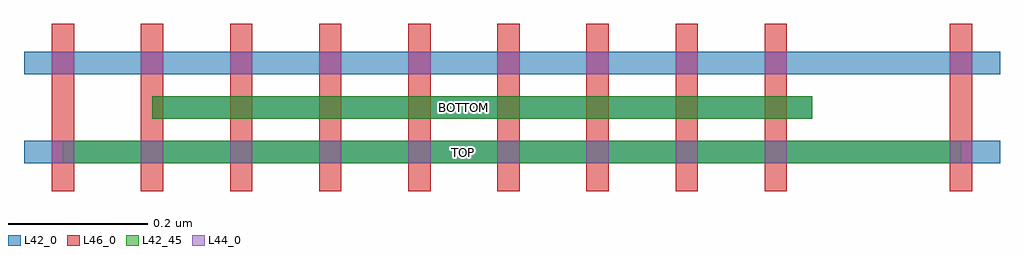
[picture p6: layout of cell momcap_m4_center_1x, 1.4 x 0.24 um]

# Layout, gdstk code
import gdstk
lib = gdstk.Library(unit=1e-6, precision=5e-10)
def R(c, l, rs):  # rectangles x0, y0, x1, y1
    for r in rs: c.add(gdstk.rectangle(r[:2], r[2:], *l))
def A(c, l, x, y, w, h, nx, ny, dx, dy):  # array of equal rectangles
    R(c, l, [(x+i*dx, y+j*dy, x+i*dx+w, y+j*dy+h) for i in range(nx) for j in range(ny)])
L42_0 = (42, 0)
L42_45 = (42, 45)
L44_0 = (44, 0)
L46_0 = (46, 0)

via_m4_m5_0 = lib.new_cell('via_M4_M5_0')
R(via_m4_m5_0, L42_0, [(-0.056,-0.016,0.056,0.016)])
R(via_m4_m5_0, L44_0, [(-0.016,-0.016,0.016,0.016)])
R(via_m4_m5_0, L46_0, [(-0.016,-0.056,0.016,0.056)])

momcap_m4_center_1x = lib.new_cell('momcap_m4_center_1x')
R(momcap_m4_center_1x, L42_0, [(0,-0.016,1.29,0.016), (0.128,0.048,1.076,0.08), (0,0.112,1.29,0.144)])
R(momcap_m4_center_1x, L42_45, [(0,-0.016,1.29,0.016), (0.128,0.048,1.076,0.08)])
A(momcap_m4_center_1x, L46_0, -0.016, 0, 0.032, 0.128, 9, 1, 0.128, 0)
R(momcap_m4_center_1x, L46_0, [(1.274,0,1.306,0.128)])
momcap_m4_center_1x.add(gdstk.Reference(via_m4_m5_0, (0.256,0)))
momcap_m4_center_1x.add(gdstk.Reference(via_m4_m5_0, (1.29,0.128)))
momcap_m4_center_1x.add(gdstk.Reference(via_m4_m5_0, (0.896,0.128)))
momcap_m4_center_1x.add(gdstk.Reference(via_m4_m5_0, (0.768,0.128)))
momcap_m4_center_1x.add(gdstk.Reference(via_m4_m5_0, (0.384,0.128)))
momcap_m4_center_1x.add(gdstk.Reference(via_m4_m5_0, (0.384,0)))
momcap_m4_center_1x.add(gdstk.Reference(via_m4_m5_0, (0.512,0)))
momcap_m4_center_1x.add(gdstk.Reference(via_m4_m5_0, (1.29,0)))
momcap_m4_center_1x.add(gdstk.Reference(via_m4_m5_0, (0.128,0)))
momcap_m4_center_1x.add(gdstk.Reference(via_m4_m5_0, (0.64,0)))
momcap_m4_center_1x.add(gdstk.Reference(via_m4_m5_0, (0.256,0.128)))
momcap_m4_center_1x.add(gdstk.Reference(via_m4_m5_0, (0.896,0)))
momcap_m4_center_1x.add(gdstk.Reference(via_m4_m5_0, (0.64,0.128)))
momcap_m4_center_1x.add(gdstk.Reference(via_m4_m5_0, (0,0)))
momcap_m4_center_1x.add(gdstk.Reference(via_m4_m5_0, (1.024,0)))
momcap_m4_center_1x.add(gdstk.Reference(via_m4_m5_0, (0.512,0.128)))
momcap_m4_center_1x.add(gdstk.Reference(via_m4_m5_0, (0.768,0)))
momcap_m4_center_1x.add(gdstk.Reference(via_m4_m5_0, (0,0.128)))
momcap_m4_center_1x.add(gdstk.Reference(via_m4_m5_0, (1.024,0.128)))
momcap_m4_center_1x.add(gdstk.Reference(via_m4_m5_0, (0.128,0.128)))
momcap_m4_center_1x.add(gdstk.Label('BOTTOM', (0.576,0.064), layer=42, texttype=45))
momcap_m4_center_1x.add(gdstk.Label('TOP', (0.576,0), layer=42, texttype=45))

lib.write_gds('momcap_m4_center_1x.gds')
